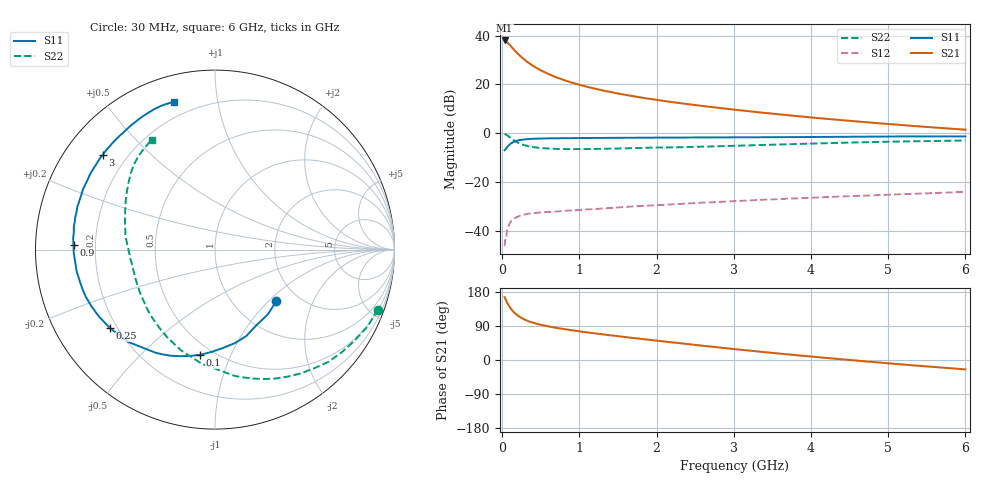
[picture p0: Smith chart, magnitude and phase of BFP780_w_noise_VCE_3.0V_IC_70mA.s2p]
! Infineon Technologies  Discrete & RF Semiconductors
! BFP780
! VCE =  3.0 V,  IC =  70 mA
! Common Emitter S-Parameters:  Jul 2015
# GHz  S  MA  R  50
!  f  S11  S21  S12  S22
! GHz  MAG  ANG  MAG  ANG  MAG  ANG  MAG  ANG
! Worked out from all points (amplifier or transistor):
!   75 points, 30 MHz to 6 GHz, reference 50 ohm
!   highest |S21| = 38.0 dB at 30 MHz (marker M1)
!   |S21| within 3 dB of that: start of sweep to 129.1 MHz
!   unconditionally stable (mu >= 1): 1.836 GHz to end of sweep
!   at 150 MHz: K = 0.14, MSG = 34.7 dB, |S12| = -35.1 dB
!   at 2.3 GHz: K = 1.11, MAG = 18.7 dB, |S12| = -29.0 dB
!   at 6 GHz: K = 1.28, MAG = 9.6 dB, |S12| = -24.1 dB
!   lowest NFmin = 1.66 dB at 450 MHz
!   S11 on the Smith chart (normalised r, x): 30 MHz: 1.56, -1.11; 100 MHz: 0.43, -0.77; 250 MHz: 0.17, -0.32; 900 MHz: 0.12, +0.02; 3 GHz: 0.11, +0.36; 6 GHz: 0.12, +0.75
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0.03  0.4458 -39.9  79.48 165.9  0.0048 74.6  0.9676 -20.2
0.05  0.4797 -61.0  75.73 156.6  0.0069 69.8  0.9282 -33.1
0.06  0.5118 -70.0  73.53 152.7  0.0102 64.8  0.9089 -39.0
0.08  0.5504 -85.5  68.54 145.0  0.0124 54.4  0.8613 -50.2
0.1  0.5919 -98.0  63.32 138.6  0.0146 54.0  0.8151 -60.3
0.12  0.6246 -108.1  58.37 132.9  0.0161 50.3  0.7705 -69.4
0.15  0.6631 -119.9  51.71 126.0  0.0175 41.7  0.713 -81.0
0.2  0.7073 -133.5  42.66 117.2  0.0194 35.5  0.6402 -96.6
0.25  0.7307 -143.2  36 110.6  0.0208 32.6  0.5926 -108.6
0.3  0.7468 -150.2  30.86 105.6  0.0217 29.5  0.5571 -118.4
0.35  0.7579 -155.6  26.94 101.6  0.0223 26.8  0.5327 -126.2
0.45  0.7703 -163.4  21.39 95.4  0.0232 24.6  0.5043 -137.9
0.6  0.7807 -171.4  16.24 88.6  0.0242 23.3  0.4822 -150.0
0.9  0.7887 178.2  10.88 78.5  0.026 23.5  0.4686 -164.7
1.1  0.7923 173.1  8.888 72.9  0.0273 24.2  0.4706 -171.2
1.5  0.7993 164.8  6.487 62.9  0.0299 25.6  0.4827 179.6
2.1  0.8086 154.2  4.551 48.8  0.0338 25.9  0.5072 169.6
3  0.8191 139.9  3.039 28.9  0.0402 25.0  0.5493 155.6
3.1  0.8203 138.5  2.918 26.9  0.0409 24.8  0.5551 154.1
4.1  0.8343 124.6  2.03 7.2  0.048 21.9  0.6151 141.1
5.1  0.8527 113.4  1.495 -10.4  0.0553 17.6  0.6696 129.9
6  0.8554 105.4  1.176 -24.8  0.0624 12.6  0.7054 119.9
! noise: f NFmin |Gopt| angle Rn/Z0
0.45  1.66  0.46  179  0.07
0.9  1.71  0.49  -169  0.08
1.5  1.77  0.51  -160  0.09
1.8  1.94  0.52  -154  0.1
2.4  2.06  0.53  -146  0.15
3  2.34  0.54  -137  0.21
3.5  2.82  0.58  -123  0.32
